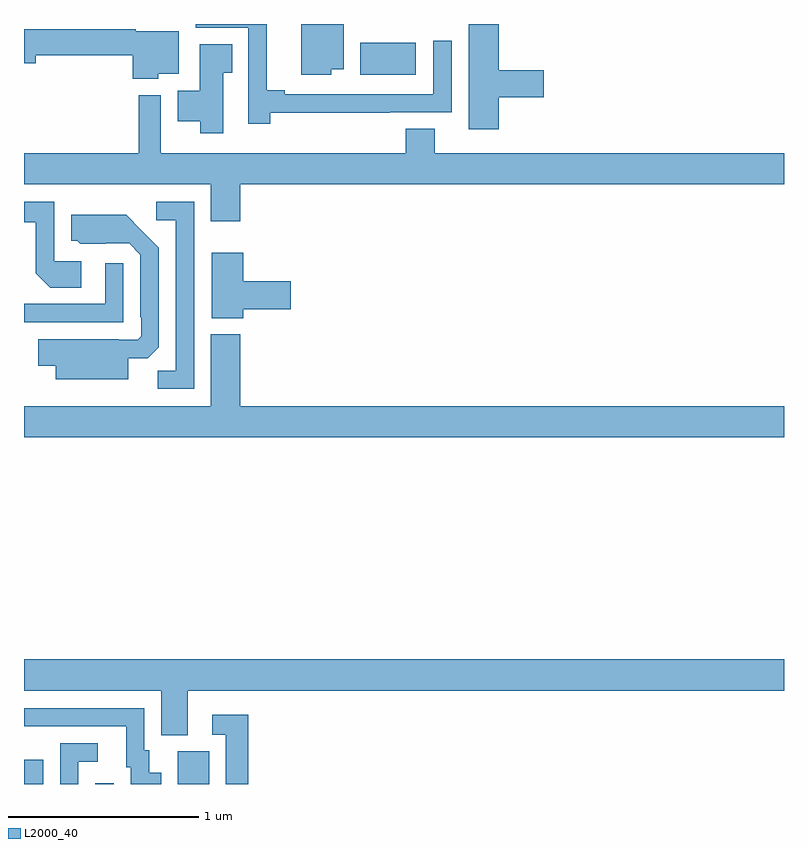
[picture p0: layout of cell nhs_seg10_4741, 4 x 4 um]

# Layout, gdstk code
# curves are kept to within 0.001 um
import gdstk
lib = gdstk.Library(unit=1e-6, precision=1e-09)
def R(c, l, rs):  # rectangles x0, y0, x1, y1
    for r in rs: c.add(gdstk.rectangle(r[:2], r[2:], *l))
def P(c, l, *ps):  # polygons
    for p in ps: c.add(gdstk.Polygon(p, *l))
L2000_40 = (2000, 40)

nhs_seg10_4741 = lib.new_cell('nhs_seg10_4741')
R(nhs_seg10_4741, L2000_40, [(383,1290.5,383.101,1290.628), (383.376,1290.5,383.472,1290.505), (383.81,1290.5,383.974,1290.672), (384.77,1294.232,385.063,1294.402)])
P(nhs_seg10_4741, L2000_40, [(384.616,1294.262),(384.682,1294.262),(384.682,1294.5),(384.458,1294.5),(384.458,1294.232),(384.616,1294.232)],
  [(385.499,1294.114),(385.735,1294.114),(385.735,1294.256),(385.499,1294.256),(385.499,1294.5),(385.34,1294.5),(385.34,1293.945),(385.499,1293.945)],
  [(384.296,1294.034),(384.926,1294.034),(384.926,1294.035),(385.251,1294.035),(385.251,1294.411),(385.155,1294.411),(385.155,1294.131),(384.373,1294.131),(384.373,1294.151),(384.278,1294.151),(384.278,1294.5),(383.903,1294.5),(383.903,1294.479),(384.18,1294.479),(384.18,1293.975),(384.296,1293.975)],
  [(383.706,1294.238),(383.815,1294.238),(383.815,1294.462),(383.589,1294.462),(383.589,1294.472),(383,1294.472),(383,1294.294),(383.062,1294.294),(383.062,1294.336),(383.573,1294.336),(383.573,1294.211),(383.706,1294.211)],
  [(384.049,1294.243),(384.095,1294.243),(384.095,1294.394),(383.924,1294.394),(383.924,1294.15),(383.81,1294.15),(383.81,1293.989),(383.927,1293.989),(383.927,1293.924),(384.049,1293.924)],
  [(384.137,1293.656),(387,1293.656),(387,1293.82),(385.162,1293.82),(385.162,1293.95),(385.01,1293.95),(385.01,1293.82),(383.721,1293.82),(383.721,1294.126),(383.605,1294.126),(383.605,1293.82),(383,1293.82),(383,1293.656),(383.984,1293.656),(383.984,1293.462),(384.137,1293.462)],
  [(383.895,1293.564),(383.697,1293.564),(383.697,1293.468),(383.799,1293.468),(383.799,1292.675),(383.704,1292.675),(383.704,1292.58),(383.895,1292.58)],
  [(383.302,1293.252),(383.16,1293.252),(383.16,1293.564),(383,1293.564),(383,1293.456),(383.061,1293.456),(383.061,1293.188),(383.137,1293.112),(383.302,1293.112)],
  [(383.548,1292.741),(383.65,1292.741),(383.709,1292.8),(383.709,1293.322),(383.537,1293.496),(383.249,1293.496),(383.249,1293.36),(383.28,1293.36),(383.296,1293.344),(383.553,1293.345),(383.613,1293.285),(383.613,1292.956),(383.616,1292.956),(383.616,1292.856),(383.598,1292.838),(383.498,1292.838),(383.498,1292.842),(383.074,1292.842),(383.074,1292.702),(383.168,1292.702),(383.168,1292.63),(383.548,1292.63)],
  [(384.154,1292.999),(384.403,1292.999),(384.403,1293.146),(384.154,1293.146),(384.154,1293.295),(383.987,1293.295),(383.987,1292.951),(384.154,1292.951)],
  [(383.523,1293.241),(383.427,1293.241),(383.427,1293.027),(383,1293.027),(383,1292.931),(383.523,1292.931)],
  [(387,1292.488),(384.137,1292.488),(384.137,1292.866),(383.984,1292.866),(383.984,1292.488),(383,1292.488),(383,1292.324),(387,1292.324)],
  [(383.863,1290.992),(387,1290.992),(387,1291.156),(383,1291.156),(383,1290.992),(383.723,1290.992),(383.723,1290.757),(383.863,1290.757)],
  [(383.722,1290.559),(383.659,1290.559),(383.659,1290.678),(383.634,1290.678),(383.634,1290.9),(383,1290.9),(383,1290.804),(383.537,1290.804),(383.537,1290.588),(383.561,1290.588),(383.561,1290.5),(383.722,1290.5)],
  [(384.179,1290.865),(383.991,1290.865),(383.991,1290.759),(384.063,1290.759),(384.063,1290.5),(384.179,1290.5)],
  [(383.286,1290.618),(383.389,1290.618),(383.389,1290.714),(383.19,1290.714),(383.19,1290.5),(383.286,1290.5)])

lib.write_gds('nhs_seg10_4741.gds')
